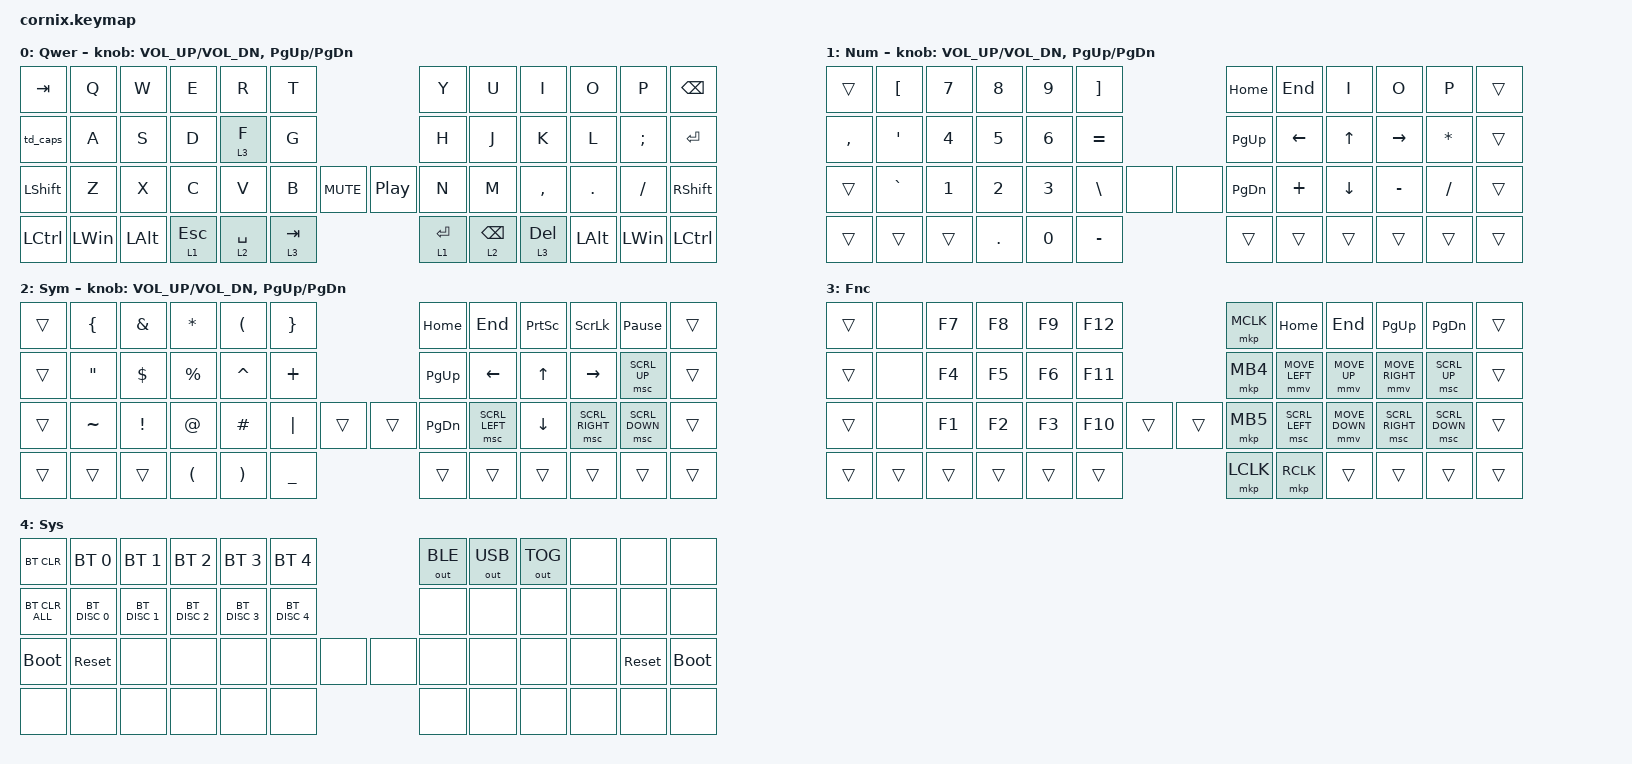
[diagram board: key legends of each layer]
/*
 * Copyright (c) 2020 The ZMK Contributors
 *
 * SPDX-License-Identifier: MIT
 */

#include "zmk-helpers/helper.h"
#include "includes/cornix54.h"

// tap windows for ctl alt and gui

#define HM_TAPPING_TERM 250
#define HM_TAPPING_REPEAT 210

// quick tapping for shift

#define HM_TAPPING_TERM_FAST 200
#define HM_PRIOR_IDLE 70
#define BASE 0
#define WIN 1
#define LOWER 2
#define RAISE 3
#define ADJUST 4
#define NAVI   5
#define NUM    6
#define DEBUG  7

// https://github.com/urob/zmk-config/tree/main#timeless-homerow-mods

#define KEYS_L LT0 LT1 LT2 LT3 LT4 LT5 LM0 LM1 LM2 LM3 LM4 LM5 LB0 LB1 LB2 LB3 LB4 LB5  // left hand
#define KEYS_R RT0 RT1 RT2 RT3 RT4 RT5 RM0 RM1 RM2 RM3 RM4 RM5 RB0 RB1 RB2 RB3 RB4 RB5  // right hand
#define THUMBS LH1 LH0 RH0 RH1
#define KEYS_T LH1 LH0 RH0 RH1
#define ZMK_POINTING_DEFAULT_SCRL_VAL 50

#include <behaviors.dtsi>
#include <dt-bindings/zmk/bt.h>
#include <dt-bindings/zmk/keys.h>
#include <dt-bindings/zmk/outputs.h>
#include <dt-bindings/zmk/pointing.h>

&lt { quick-tap-ms = <180>; };

&mt {
    quick-tap-ms = <150>;
    flavor = "tap-preferred";
};

/ {
    // Activate ADJUST layer by pressing raise and lower

    behaviors {
        // Positional Homerow mods for shift
        // Use faster tapping term and disable some features that may
        // cause false negatives.
        /*
         * Non-Positional Homerow Mods
         * Used for &mm_grescm_gui behavior on left hand.
         *
         * Usage: &hm LSHFT T
         * Tap: T
         * Tap-Tap-Hold: Repeat T
         * Hold: LSHIFT
         */

        td_caps: td_caps {
            compatible = "zmk,behavior-tap-dance";
            label = "TD_CAPS";
            #binding-cells = <0>;
            bindings = <&kp RALT>, <&kp RCTRL>, <&kp CAPS>;
        };
    };

    conditional_layers {
        compatible = "zmk,conditional-layers";

        Sys_layer {
            if-layers = <1 3>;
            then-layer = <4>;
        };
    };

    combos {
        compatible = "zmk,combos";

        combo_lshft {
            bindings = <&kp LSHFT>;
            key-positions = <16 15>;
            layers = <0 1 2 3>;
            timeout-ms = <50>;
            require-prior-idle-ms = <100>;
            slow-release;
        };

        combo_lctrl {
            bindings = <&kp LCTRL>;
            key-positions = <15 14>;
            layers = <0 1 2 3>;
            timeout-ms = <50>;
            require-prior-idle-ms = <100>;
            slow-release;
        };

        combo_lalt {
            bindings = <&kp LALT>;
            key-positions = <14 13>;
            layers = <0 1 2 3>;
            timeout-ms = <50>;
            require-prior-idle-ms = <100>;
            slow-release;
        };

        combo_lwin {
            bindings = <&kp LWIN>;
            key-positions = <17 16>;
            layers = <0 1 2 3>;
            timeout-ms = <50>;
            require-prior-idle-ms = <100>;
            slow-release;
        };

        combo_rshft {
            bindings = <&kp LSHFT>;
            key-positions = <19 20>;
            layers = <0 1 2 3>;
            timeout-ms = <50>;
            require-prior-idle-ms = <100>;
            slow-release;
        };

        combo_rctrl {
            bindings = <&kp LCTRL>;
            key-positions = <20 21>;
            layers = <0 1 2 3>;
            timeout-ms = <50>;
            require-prior-idle-ms = <100>;
            slow-release;
        };

        combo_ralt {
            bindings = <&kp LALT>;
            key-positions = <22 21>;
            layers = <0 1 2 3>;
            timeout-ms = <50>;
            require-prior-idle-ms = <100>;
            slow-release;
        };

        combo_rwin {
            bindings = <&kp LWIN>;
            key-positions = <18 19>;
            layers = <0 1 2 3>;
            timeout-ms = <50>;
            require-prior-idle-ms = <100>;
            slow-release;
        };

        combo_lshft_lctrl {
            bindings = <&kp LC(LSHFT)>;
            key-positions = <16 15 14>;
            layers = <0 1 2 3>;
            timeout-ms = <50>;
            require-prior-idle-ms = <100>;
            slow-release;
        };

        combo_lctrl_lalt {
            bindings = <&kp LA(LCTRL)>;
            key-positions = <15 14 13>;
            layers = <0 1 2 3>;
            timeout-ms = <50>;
            require-prior-idle-ms = <100>;
            slow-release;
        };

        combo_lshft_lalt {
            bindings = <&kp LA(LSHFT)>;
            key-positions = <16 15 13>;
            layers = <0 1 2 3>;
            timeout-ms = <50>;
            require-prior-idle-ms = <100>;
            slow-release;
        };

        combo_lctrl_lwin {
            bindings = <&kp LC(LWIN)>;
            key-positions = <16 15 13 14>;
            layers = <0 1 2 3>;
            timeout-ms = <50>;
            require-prior-idle-ms = <100>;
            slow-release;
        };

        comobo_rshft_rctrl {
            bindings = <&kp LC(LSHFT)>;
            key-positions = <19 20 21>;
            layers = <0 1 2 3>;
            timeout-ms = <50>;
            require-prior-idle-ms = <100>;
            slow-release;
        };

        combo_rctrl_ralt {
            bindings = <&kp LA(LCTRL)>;
            key-positions = <20 21 22>;
            layers = <0 1 2 3>;
            timeout-ms = <50>;
            require-prior-idle-ms = <100>;
            slow-release;
        };

        combo_rshft_ralt {
            bindings = <&kp LA(LSHFT)>;
            key-positions = <19 20 22>;
            layers = <0 1 2 3>;
            timeout-ms = <50>;
            require-prior-idle-ms = <100>;
            slow-release;
        };

        combo_rctrl_rwin {
            bindings = <&kp LC(LWIN)>;
            key-positions = <19 20 21 22>;
            layers = <0 1 2 3>;
            timeout-ms = <50>;
            require-prior-idle-ms = <100>;
            slow-release;
        };
    };

    keymap {
        compatible = "zmk,keymap";

        Qwer {
            // ------------------------------------------------------------------------------------------------------------
            // |   `   |  1  |  2  |  3   |  4   |  5   |                   |  6   |  7    |  8    |  9   |   0   |       |
            // |  ESC  |  Q  |  W  |  E   |  R   |  T   |                   |  Y   |  U    |  I    |  O   |   P   | BKSPC |
            // |  TAB  |  A  |  S  |  D   |  F   |  G   |                   |  H   |  J    |  K    |  L   |   ;   |   '   |
            // | SHIFT |  Z  |  X  |  C   |  V   |  B   |  MUTE  |  |       |  N   |  M    |  ,    |  .   |   /   | SHIFT |
            //               | GUI | ALT  | CTRL | LOWER|  ENTER |  | SPACE | RAISE| CTRL  | ALT   | GUI  |

            bindings = <
&kp TAB    &kp Q     &kp W     &kp E      &kp R        &kp T                                    &kp Y        &kp U       &kp I      &kp O     &kp P      &kp BSPC
&td_caps   &kp A     &kp S     &kp D      &lt 3 F      &kp G                                    &kp H        &kp J       &kp K      &kp L     &kp SEMI   &kp ENTER
&kp LSHFT  &kp Z     &kp X     &kp C      &kp V        &kp B      &kp C_MUTE  &kp C_PLAY_PAUSE  &kp N        &kp M       &kp COMMA  &kp DOT   &kp SLASH  &kp RSHFT
&kp LCTRL  &kp LWIN  &kp LALT  &lt 1 ESC  &lt 2 SPACE  &lt 3 TAB                                &lt 1 ENTER  &lt 2 BSPC  &lt 3 DEL  &kp LALT  &kp LWIN   &kp LCTRL
            >;

            sensor-bindings = <&inc_dec_kp C_VOL_UP C_VOL_DN &inc_dec_kp PG_UP PG_DN>;
        };

        Num {
            bindings = <
&trans     &kp LBKT   &kp N7  &kp N8   &kp N9  &kp RBKT                 &kp HOME   &kp END   &kp I     &kp O      &kp P      &trans
&kp COMMA  &kp SQT    &kp N4  &kp N5   &kp N6  &kp EQUAL                &kp PG_UP  &kp LEFT  &kp UP    &kp RIGHT  &kp ASTRK  &trans
&trans     &kp GRAVE  &kp N1  &kp N2   &kp N3  &kp BSLH   &none  &none  &kp PG_DN  &kp PLUS  &kp DOWN  &kp MINUS  &kp SLASH  &trans
&trans     &trans     &trans  &kp DOT  &kp N0  &kp MINUS                &trans     &trans    &trans    &trans     &trans     &trans
            >;

            sensor-bindings =
                <&inc_dec_kp C_VOL_UP C_VOL_DN>,
                <&inc_dec_kp PG_UP PG_DN>;
        };

        Sym {
            bindings = <
&trans  &kp LBRC   &kp AMPERSAND    &kp ASTERISK  &kp LEFT_PARENTHESIS  &kp RIGHT_BRACE                  &kp HOME   &kp END         &kp PRINTSCREEN  &kp SCROLLLOCK   &kp PAUSE_BREAK  &trans
&trans  &kp DQT    &kp DOLLAR       &kp PERCENT   &kp CARET             &kp PLUS                         &kp PG_UP  &kp LEFT        &kp UP           &kp RIGHT        &msc SCRL_UP     &trans
&trans  &kp TILDE  &kp EXCLAMATION  &kp AT_SIGN   &kp HASH              &kp PIPE         &trans  &trans  &kp PG_DN  &msc SCRL_LEFT  &kp DOWN         &msc SCRL_RIGHT  &msc SCRL_DOWN   &trans
&trans  &trans     &trans           &kp LPAR      &kp RPAR              &kp UNDER                        &trans     &trans          &trans           &trans           &trans           &trans
            >;

            sensor-bindings =
                <&inc_dec_kp C_VOL_UP C_VOL_DN>,
                <&inc_dec_kp PG_UP PG_DN>;
        };

        Fnc {
            bindings = <
&trans  &none   &kp F7  &kp F8  &kp F9  &kp F12                  &mkp MCLK  &kp HOME        &kp END         &kp PG_UP        &kp PG_DN       &trans
&trans  &none   &kp F4  &kp F5  &kp F6  &kp F11                  &mkp MB4   &mmv MOVE_LEFT  &mmv MOVE_UP    &mmv MOVE_RIGHT  &msc SCRL_UP    &trans
&trans  &none   &kp F1  &kp F2  &kp F3  &kp F10  &trans  &trans  &mkp MB5   &msc SCRL_LEFT  &mmv MOVE_DOWN  &msc SCRL_RIGHT  &msc SCRL_DOWN  &trans
&trans  &trans  &trans  &trans  &trans  &trans                   &mkp LCLK  &mkp RCLK       &trans          &trans           &trans          &trans
            >;
        };

        Sys {
            // ----------------------------------------------------------------------------------------------------------------------------
            // | BTCLR  |  BT1    |  BT2    |   BT3   |   BT4   |   BT5   |                  |      |      |       |      |       |       |
            // | EXTPWR | BTCLR | RGB_HUI | RGB_SAD | RGB_SAI | RGB_EFF |                  |      |      |       |      |       |       |
            // |        | RGB_BRD | RGB_BRI |         |         |         |                  |      |      |       |      |       |       |
            // |        |         |         |         |         |         | RGB_TOG | |      |      |      |       |      |       |       |
            //                    |         |         |         |         |         | |      |      |      |       |      |

            bindings = <
&bt BT_CLR      &bt BT_SEL 0   &bt BT_SEL 1   &bt BT_SEL 2   &bt BT_SEL 3   &bt BT_SEL 4                 &out OUT_BLE  &out OUT_USB  &out OUT_TOG  &none  &none       &none
&bt BT_CLR_ALL  &bt BT_DISC 0  &bt BT_DISC 1  &bt BT_DISC 2  &bt BT_DISC 3  &bt BT_DISC 4                &none         &none         &none         &none  &none       &none
&bootloader     &sys_reset     &none          &none          &none          &none          &none  &none  &none         &none         &none         &none  &sys_reset  &bootloader
&none           &none          &none          &none          &none          &none                        &none         &none         &none         &none  &none       &none
            >;
        };
    };
};
